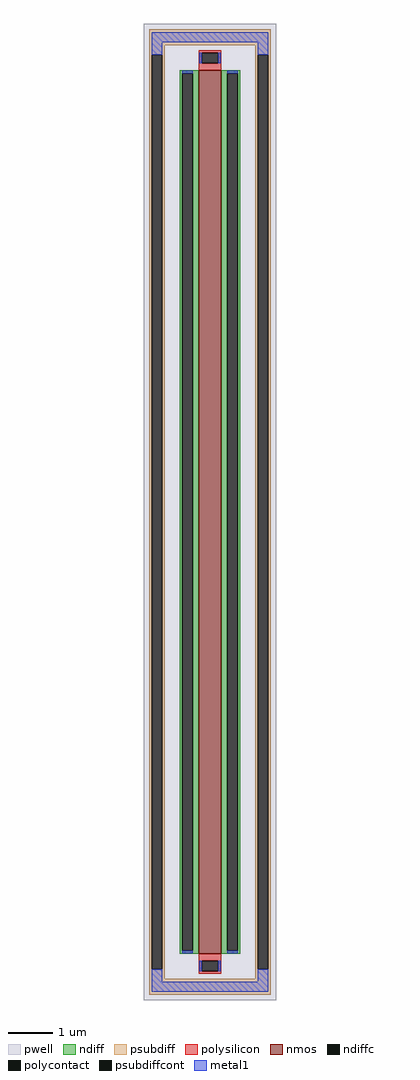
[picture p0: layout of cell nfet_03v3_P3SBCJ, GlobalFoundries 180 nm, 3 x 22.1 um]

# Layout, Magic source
magic
tech gf180mcuD
magscale 1 10
<< pwell >>
rect -300 -2210 300 2210
<< nmos >>
rect -50 -2000 50 2000
<< ndiff >>
rect -138 1987 -50 2000
rect -138 -1987 -125 1987
rect -79 -1987 -50 1987
rect -138 -2000 -50 -1987
rect 50 1987 138 2000
rect 50 -1987 79 1987
rect 125 -1987 138 1987
rect 50 -2000 138 -1987
<< ndiffc >>
rect -125 -1987 -79 1987
rect 79 -1987 125 1987
<< psubdiff >>
rect -276 2114 276 2186
rect -276 2070 -204 2114
rect -276 -2070 -263 2070
rect -217 -2070 -204 2070
rect 204 2070 276 2114
rect -276 -2114 -204 -2070
rect 204 -2070 217 2070
rect 263 -2070 276 2070
rect 204 -2114 276 -2070
rect -276 -2186 276 -2114
<< psubdiffcont >>
rect -263 -2070 -217 2070
rect 217 -2070 263 2070
<< polysilicon >>
rect -50 2079 50 2092
rect -50 2033 -37 2079
rect 37 2033 50 2079
rect -50 2000 50 2033
rect -50 -2033 50 -2000
rect -50 -2079 -37 -2033
rect 37 -2079 50 -2033
rect -50 -2092 50 -2079
<< polycontact >>
rect -37 2033 37 2079
rect -37 -2079 37 -2033
<< metal1 >>
rect -263 2127 263 2173
rect -263 2070 -217 2127
rect -48 2033 -37 2079
rect 37 2033 48 2079
rect 217 2070 263 2127
rect -125 1987 -79 1998
rect -125 -1998 -79 -1987
rect 79 1987 125 1998
rect 79 -1998 125 -1987
rect -263 -2127 -217 -2070
rect -48 -2079 -37 -2033
rect 37 -2079 48 -2033
rect 217 -2127 263 -2070
rect -263 -2173 263 -2127
<< properties >>
string FIXED_BBOX -240 -2150 240 2150
string gencell nfet_03v3
string library gf180mcu
string parameters w 20.0 l 0.5 m 1 nf 1 diffcov 100 polycov 100 guard 1 glc 1 grc 1 gtc 0 gbc 0 tbcov 100 rlcov 100 topc 1 botc 1 poverlap 0 doverlap 1 lmin 0.28 wmin 0.22 class mosfet full_metal 1 compatible {nfet_03v3 nfet_05v0 nfet_06v0 nfet_06v0_nvt} ad int((nf+1)/2)*W/nf*0.18u as int((nf+2)/2)*W/nf*0.18u pd 2*int((nf+1)/2)*(W/nf+0.18u) ps 2*int((nf+2)/2)*(W/nf+0.18u) nrd 0.18u/W nrs 0.18u/W sa 0 sb 0 sd 0
<< end >>
